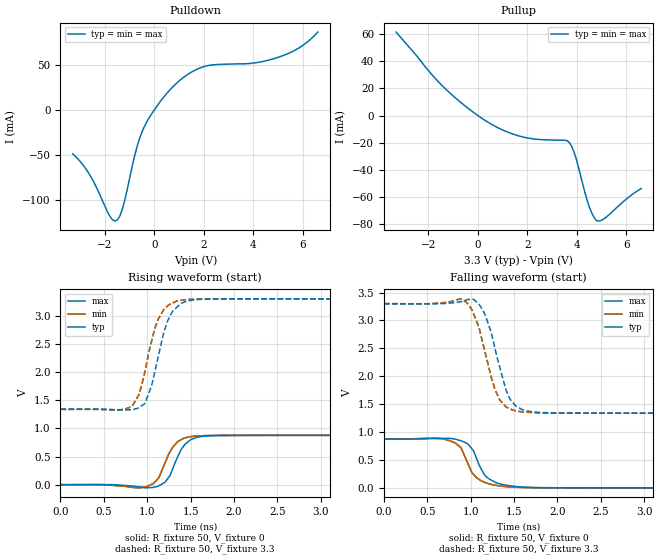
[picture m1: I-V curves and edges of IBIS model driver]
| IBIS file ex2_skewp_probe.ibs created by PYS2IBIS3
| Missouri S&T EMC Lab
[IBIS Ver] 7.1
[File Name] ex2_skewp_probe.ibs
[File Rev] 1.0
[Date] July 28, 2026
[Source] ex2 variant 'skewp' -- output PMOS at half width
[Notes] Observation pass for parameter selection.
[Disclaimer] Experimental characterization for pybis observability study.
[Component] MCM Driver 1
[Manufacturer] MegaFLOPS Inc.
[Package]
| variable   typ   min   max
R_pkg 0 NA NA
L_pkg 0H NA NA
C_pkg 0F NA NA
[Pin]  signal_name   model_name   R_pin   L_pin   C_pin
vdd   vdd   POWER
gnd   gnd   GND
| in in dummy
out   out   driver
| End of Component
| Models and submodels in the file (1): driver (Output)
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[Model] driver
Model_type Output
Polarity Non-Inverting
Enable Active-Low
Vinl  = 0.8V
Vinh  = 2V
C_comp 5.0000pF 5.0000pF 5.0000pF
[Temperature Range] 27.0000 27.0000 27.0000
[Voltage Range] 3.3000V 3.3000V 3.3000V
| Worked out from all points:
|   slope of the pulldown table from 0 to 0.495 V, typ, clamps not added: 27.4 ohm
|   slope of the pullup table from 0 to 0.495 V, typ, clamps not added: 85.1 ohm
|   rising waveform, R_fixture 50, V_fixture 0: 20-80 % time 160ps typ, 166ps min, 166ps max; typ from 0 V to 0.876 V
|   rising waveform, R_fixture 50, V_fixture 3.3: 20-80 % time 192ps typ, 191ps min, 191ps max; typ from 1.34 V to 3.3 V
|   falling waveform, R_fixture 50, V_fixture 0: 20-80 % time 185ps typ, 181ps min, 181ps max; typ from 0.876 V to 0 V
|   falling waveform, R_fixture 50, V_fixture 3.3: 20-80 % time 204ps typ, 202ps min, 202ps max; typ from 3.3 V to 1.34 V
[Pulldown]
| Voltage   I(typ)   I(min)   I(max)
-3.3V     -48.93mA   -48.93mA   -48.93mA
-2.6V     -72.86mA   -72.86mA   -72.86mA
-1.8V     -118.2mA   -118.2mA   -118.2mA
-1.5V     -122.5mA   -122.5mA   -122.5mA
-1.3V     -110.9mA   -110.9mA   -110.9mA
-800mV    -51.3mA    -51.3mA    -51.3mA
-500mV    -24.59mA   -24.59mA   -24.59mA
100mV     4.004mA    4.004mA    4.004mA
900mV     29.68mA    29.68mA    29.68mA
2.1V      48.76mA    48.76mA    48.76mA
5.1V      59.31mA    59.31mA    59.31mA
6.6V      86.45mA    86.45mA    86.45mA
[Pullup]
| Voltage   I(typ)   I(min)   I(max)
-3.3V     61.37mA    61.37mA    61.37mA
-1.4V     21.26mA    21.26mA    21.26mA
-600mV    8.306mA    8.306mA    8.306mA
300mV     -3.662mA   -3.662mA   -3.662mA
1.7V      -15.2mA    -15.2mA    -15.2mA
3.6V      -18.41mA   -18.41mA   -18.41mA
3.7V      -19.94mA   -19.94mA   -19.94mA
3.9V      -27.54mA   -27.54mA   -27.54mA
4.5V      -66.93mA   -66.93mA   -66.93mA
4.8V      -77.41mA   -77.41mA   -77.41mA
5.1V      -75.86mA   -75.86mA   -75.86mA
6.6V      -53.64mA   -53.64mA   -53.64mA
[Ramp]
| variable   typ   min   max
dV/dt_r 0.5258/0.1597n 0.5258/0.1656n 0.5258/0.1656n
dV/dt_f 1.1772/0.2031n 1.1772/0.2019n 1.1772/0.2019n
R_load = 50
[Rising Waveform]
R_fixture = 50
V_fixture = 0
|time   V(typ)   V(min)   V(max)
0s        3.917nV    3.917nV    3.917nV
904.9ps   -38.25mV   -56.47mV   -56.47mV
1.065ns   -48.72mV   15mV       15mV
1.121ns   -30.74mV   101.3mV    101.3mV
1.209ns   49.92mV    401.9mV    401.9mV
1.297ns   296.4mV    673.3mV    673.3mV
1.425ns   698.8mV    827.6mV    827.6mV
1.554ns   831.1mV    863.3mV    863.3mV
1.938ns   874.8mV    875.4mV    875.4mV
8ns       876.4mV    876.4mV    876.4mV
[Rising Waveform]
R_fixture = 50
V_fixture = 3.3
|time   V(typ)   V(min)   V(max)
0s        1.338V     1.338V     1.338V
816.8ps   1.331V     1.384V     1.384V
904.9ps   1.373V     1.601V     1.601V
969ps     1.435V     1.974V     1.974V
1.049ns   1.753V     2.543V     2.543V
1.129ns   2.29V      2.946V     2.946V
1.241ns   2.929V     3.184V     3.184V
1.401ns   3.228V     3.278V     3.278V
1.802ns   3.299V     3.299V     3.299V
8ns       3.3V       3.3V       3.3V
[Falling Waveform]
R_fixture = 50
V_fixture = 0
|time   V(typ)   V(min)   V(max)
0s        876.4mV    876.4mV    876.4mV
664.7ps   887.5mV    883.2mV    883.2mV
824.8ps   873.8mV    802.3mV    802.3mV
896.9ps   839.3mV    692.7mV    692.7mV
969ps     786.4mV    433.7mV    433.7mV
1.065ns   540mV      185.8mV    185.8mV
1.153ns   248.7mV    104.5mV    104.5mV
1.201ns   172.3mV    77.47mV    77.47mV
1.466ns   33.7mV     14.12mV    14.12mV
8ns       83.57nV    623.9nV    623.9nV
[Falling Waveform]
R_fixture = 50
V_fixture = 3.3
|time   V(typ)   V(min)   V(max)
0s        3.3V       3.3V       3.3V
888.9ps   3.336V     3.386V     3.386V
1.041ns   3.37V      3.094V     3.094V
1.169ns   3.092V     2.411V     2.411V
1.249ns   2.706V     1.919V     1.919V
1.329ns   2.196V     1.596V     1.596V
1.417ns   1.717V     1.442V     1.442V
1.546ns   1.443V     1.372V     1.372V
2.018ns   1.341V     1.34V      1.34V
8ns       1.338V     1.338V     1.338V
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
